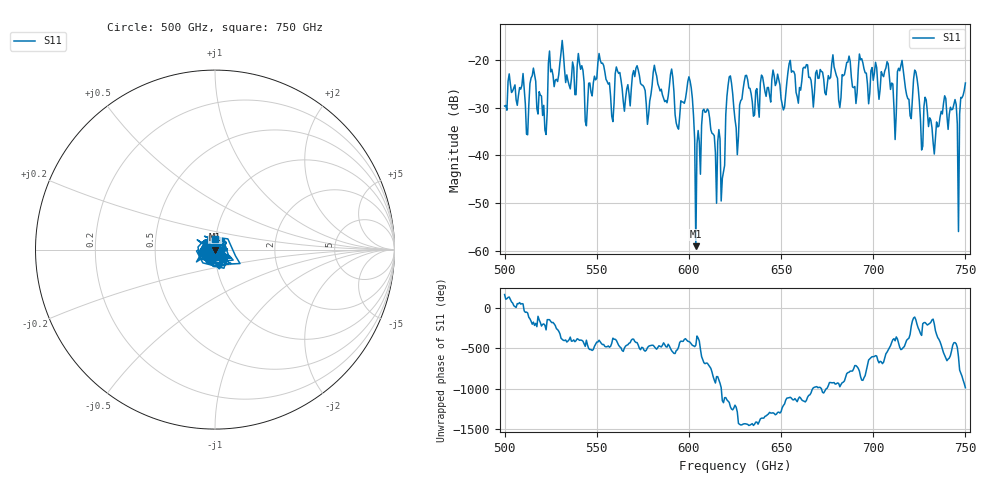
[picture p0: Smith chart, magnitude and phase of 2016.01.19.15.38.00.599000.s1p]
!Created with skrf (http://scikit-rf.org).
# GHz S RI R 50.0
!freq ReS11 ImS11
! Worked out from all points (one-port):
!   401 points, 500 GHz to 750 GHz, reference 50 ohm
!   lowest |S11| = -59.0 dB at 603.8 GHz (marker M1), VSWR 1.00, Z = 50 - j0.11 ohm
!   |S11| at or under -10 dB: start of sweep to end of sweep
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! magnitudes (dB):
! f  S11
! 500 GHz  -29.6
! 512.5 GHz  -35.7
! 515.6 GHz  -21.7
! 521.9 GHz  -34.7
! 525 GHz  -22.5
! 531.2 GHz  -15.9
! 544.4 GHz  -33.8
! 551.9 GHz  -20.1
! 558.1 GHz  -31.8
! 562.5 GHz  -22.6
! 578.1 GHz  -31.4
! 590.6 GHz  -21.9
! 593.8 GHz  -34.0
! 600.6 GHz  -24.4
! 603.8 GHz  -59.0
! 609.4 GHz  -30.9
! 618.1 GHz  -44.8
! 621.9 GHz  -23.6
! 625 GHz  -32.5
! 630.6 GHz  -23.3
! 651.2 GHz  -30.5
! 656.2 GHz  -22.3
! 687.5 GHz  -20.3
! 711.2 GHz  -30.0
! 715 GHz  -21.2
! 718.8 GHz  -28.1
! 745.6 GHz  -33.4
! 750 GHz  -24.8
